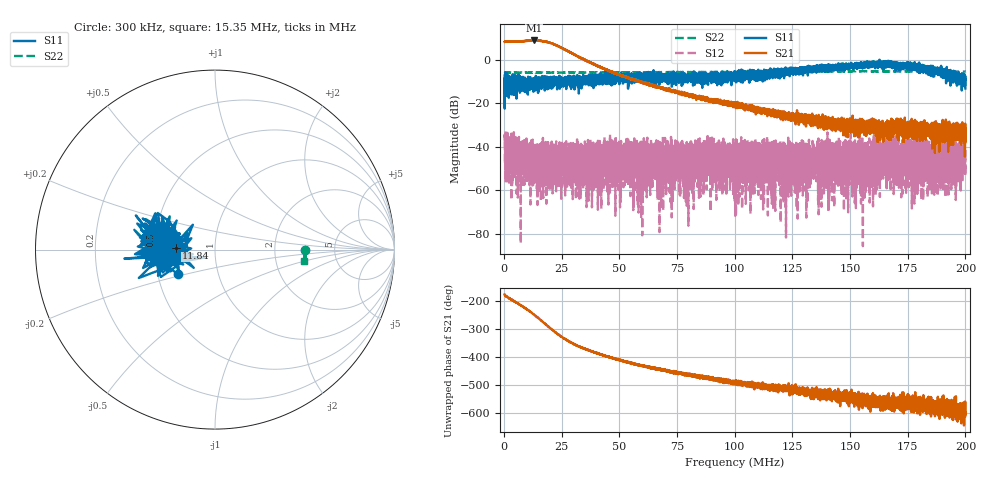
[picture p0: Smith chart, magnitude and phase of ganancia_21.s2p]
# Hz S DB R 50
! CMT, M5065, 19127446, 24.2.4/2
! Date: 10/29/2024 1:13:50 PM
! Data: Format (Calibration Info)
! Freq	S11:dB/Ang(F2)	S21:dB/Ang(F2)	S12:dB/Ang(F2)	S22:dB/Ang(F2)
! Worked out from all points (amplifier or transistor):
!   9000 points, 300 kHz to 200 MHz, reference 50 ohm
!   highest |S21| = 8.8 dB at 13.04 MHz (marker M1)
!   |S21| within 3 dB of that: start of sweep to 24.26 MHz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
!   unconditionally stable (mu >= 1): start of sweep to end of sweep
!   at 33.59 MHz: K = 114.19, MAG = 2.2 dB, |S12| = -51.0 dB
!   at 100.2 MHz: K = 896.05, MAG = -18.8 dB, |S12| = -48.3 dB
!   at 200 MHz: K = 2773.49, MAG = -33.2 dB, |S12| = -43.3 dB
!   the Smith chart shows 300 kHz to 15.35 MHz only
!   S11 on the Smith chart (normalised r, x): 300 kHz: 0.64, -0.19; 11.84 MHz: 0.64, +0.01; 15.35 MHz: 0.48, -0.07
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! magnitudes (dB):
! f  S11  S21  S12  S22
! 300 kHz  -12.2  8.2  -37.3  -6.0
! 1.454 MHz  -9.9  8.2  -41.1  -6.0
! 11.84 MHz  -13.3  8.7  -37.1  -6.0
! 13.04 MHz  -11.6  8.8  -49.8  -6.0
! 15.35 MHz  -9.1  8.7  -43.5  -6.0
! 33.59 MHz  -11.5  0.6  -51.0  -5.9
! 54.56 MHz  -7.7  -8.6  -41.0  -5.8
! 59.24 MHz  -6.3  -10.4  -37.8  -5.8
! 65.41 MHz  -7.8  -12.1  -48.8  -5.8
! 66.87 MHz  -8.4  -12.9  -45.0  -5.8
! 88.51 MHz  -8.7  -18.8  -50.3  -5.7
! 100.2 MHz  -8.6  -20.8  -48.3  -5.7
! 103.1 MHz  -7.1  -20.7  -49.9  -5.7
! 112.3 MHz  -7.8  -22.8  -50.1  -5.6
! 118.6 MHz  -7.8  -24.2  -43.5  -5.6
! 122.2 MHz  -6.0  -26.0  -50.3  -5.5
! 124.1 MHz  -5.2  -27.1  -41.1  -5.5
! 127.6 MHz  -5.0  -26.5  -50.5  -5.5
! 133.4 MHz  -4.9  -26.3  -51.7  -5.4
! 166.7 MHz  -1.6  -29.6  -52.7  -5.4
! 188.8 MHz  -3.7  -34.4  -37.8  -5.5
! 200 MHz  -13.3  -34.8  -43.3  -5.5
